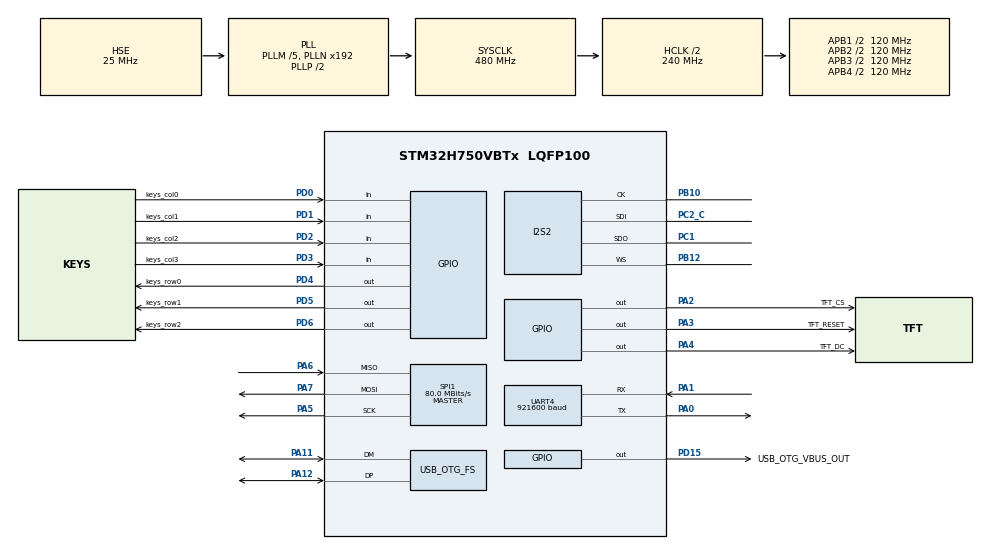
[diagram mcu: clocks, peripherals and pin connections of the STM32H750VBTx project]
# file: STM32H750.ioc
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CORTEX_M7.AccessPermission-Cortex_Memory_Protection_Unit_Region0_Settings=MPU_REGION_FULL_ACCESS
CORTEX_M7.AccessPermission-Cortex_Memory_Protection_Unit_Region1_Settings=MPU_REGION_FULL_ACCESS
CORTEX_M7.BaseAddress-Cortex_Memory_Protection_Unit_Region0_Settings=0x90000000
CORTEX_M7.BaseAddress-Cortex_Memory_Protection_Unit_Region1_Settings=0x90000000
CORTEX_M7.CPU_DCache=Enabled
CORTEX_M7.CPU_ICache=Enabled
CORTEX_M7.DisableExec-Cortex_Memory_Protection_Unit_Region0_Settings=MPU_INSTRUCTION_ACCESS_DISABLE
CORTEX_M7.Enable-Cortex_Memory_Protection_Unit_Region0_Settings=MPU_REGION_ENABLE
CORTEX_M7.Enable-Cortex_Memory_Protection_Unit_Region1_Settings=MPU_REGION_ENABLE
CORTEX_M7.IsBufferable-Cortex_Memory_Protection_Unit_Region0_Settings=MPU_ACCESS_BUFFERABLE
CORTEX_M7.IsBufferable-Cortex_Memory_Protection_Unit_Region1_Settings=MPU_ACCESS_BUFFERABLE
CORTEX_M7.IsCacheable-Cortex_Memory_Protection_Unit_Region0_Settings=MPU_ACCESS_CACHEABLE
CORTEX_M7.IsCacheable-Cortex_Memory_Protection_Unit_Region1_Settings=MPU_ACCESS_CACHEABLE
CORTEX_M7.MPU_Control=MPU_PRIVILEGED_DEFAULT
CORTEX_M7.Size-Cortex_Memory_Protection_Unit_Region0_Settings=MPU_REGION_SIZE_8MB
CORTEX_M7.Size-Cortex_Memory_Protection_Unit_Region1_Settings=MPU_REGION_SIZE_1MB
Dma.Request0=SPI1_TX
Dma.Request1=SPI2_RX
Dma.Request2=SPI2_TX
Dma.Request3=SPI1_RX
Dma.Request4=UART4_RX
Dma.Request5=UART4_TX
Dma.SPI1_RX.3.Direction=DMA_PERIPH_TO_MEMORY
Dma.SPI1_RX.3.EventEnable=DISABLE
Dma.SPI1_RX.3.FIFOMode=DMA_FIFOMODE_DISABLE
Dma.SPI1_RX.3.Instance=DMA2_Stream1
Dma.SPI1_RX.3.MemDataAlignment=DMA_MDATAALIGN_BYTE
Dma.SPI1_RX.3.MemInc=DMA_MINC_ENABLE
Dma.SPI1_RX.3.Mode=DMA_NORMAL
Dma.SPI1_RX.3.PeriphDataAlignment=DMA_PDATAALIGN_BYTE
Dma.SPI1_RX.3.PeriphInc=DMA_PINC_DISABLE
Dma.SPI1_RX.3.Polarity=HAL_DMAMUX_REQ_GEN_RISING
Dma.SPI1_RX.3.Priority=DMA_PRIORITY_HIGH
Dma.SPI1_RX.3.RequestNumber=1
Dma.SPI1_RX.3.SignalID=NONE
Dma.SPI1_RX.3.SyncEnable=DISABLE
Dma.SPI1_RX.3.SyncPolarity=HAL_DMAMUX_SYNC_NO_EVENT
Dma.SPI1_RX.3.SyncRequestNumber=1
Dma.SPI1_RX.3.SyncSignalID=NONE
Dma.SPI1_TX.0.Direction=DMA_MEMORY_TO_PERIPH
Dma.SPI1_TX.0.EventEnable=DISABLE
Dma.SPI1_TX.0.FIFOMode=DMA_FIFOMODE_DISABLE
Dma.SPI1_TX.0.Instance=DMA2_Stream2
Dma.SPI1_TX.0.MemDataAlignment=DMA_MDATAALIGN_BYTE
Dma.SPI1_TX.0.MemInc=DMA_MINC_ENABLE
Dma.SPI1_TX.0.Mode=DMA_NORMAL
Dma.SPI1_TX.0.PeriphDataAlignment=DMA_PDATAALIGN_BYTE
Dma.SPI1_TX.0.PeriphInc=DMA_PINC_DISABLE
Dma.SPI1_TX.0.Polarity=HAL_DMAMUX_REQ_GEN_RISING
Dma.SPI1_TX.0.Priority=DMA_PRIORITY_HIGH
Dma.SPI1_TX.0.RequestNumber=1
Dma.SPI1_TX.0.SignalID=NONE
Dma.SPI1_TX.0.SyncEnable=DISABLE
Dma.SPI1_TX.0.SyncPolarity=HAL_DMAMUX_SYNC_NO_EVENT
Dma.SPI1_TX.0.SyncRequestNumber=1
Dma.SPI1_TX.0.SyncSignalID=NONE
Dma.SPI2_RX.1.Direction=DMA_PERIPH_TO_MEMORY
Dma.SPI2_RX.1.EventEnable=DISABLE
Dma.SPI2_RX.1.FIFOMode=DMA_FIFOMODE_DISABLE
Dma.SPI2_RX.1.Instance=DMA1_Stream1
Dma.SPI2_RX.1.MemDataAlignment=DMA_MDATAALIGN_HALFWORD
Dma.SPI2_RX.1.MemInc=DMA_MINC_ENABLE
Dma.SPI2_RX.1.Mode=DMA_CIRCULAR
Dma.SPI2_RX.1.PeriphDataAlignment=DMA_PDATAALIGN_HALFWORD
Dma.SPI2_RX.1.PeriphInc=DMA_PINC_DISABLE
Dma.SPI2_RX.1.Polarity=HAL_DMAMUX_REQ_GEN_RISING
Dma.SPI2_RX.1.Priority=DMA_PRIORITY_VERY_HIGH
Dma.SPI2_RX.1.RequestNumber=1
Dma.SPI2_RX.1.SignalID=NONE
Dma.SPI2_RX.1.SyncEnable=DISABLE
Dma.SPI2_RX.1.SyncPolarity=HAL_DMAMUX_SYNC_NO_EVENT
Dma.SPI2_RX.1.SyncRequestNumber=1
Dma.SPI2_RX.1.SyncSignalID=NONE
Dma.SPI2_TX.2.Direction=DMA_MEMORY_TO_PERIPH
Dma.SPI2_TX.2.EventEnable=DISABLE
Dma.SPI2_TX.2.FIFOMode=DMA_FIFOMODE_DISABLE
Dma.SPI2_TX.2.Instance=DMA1_Stream2
Dma.SPI2_TX.2.MemDataAlignment=DMA_MDATAALIGN_HALFWORD
Dma.SPI2_TX.2.MemInc=DMA_MINC_ENABLE
Dma.SPI2_TX.2.Mode=DMA_CIRCULAR
Dma.SPI2_TX.2.PeriphDataAlignment=DMA_PDATAALIGN_HALFWORD
Dma.SPI2_TX.2.PeriphInc=DMA_PINC_DISABLE
Dma.SPI2_TX.2.Polarity=HAL_DMAMUX_REQ_GEN_RISING
Dma.SPI2_TX.2.Priority=DMA_PRIORITY_VERY_HIGH
Dma.SPI2_TX.2.RequestNumber=1
Dma.SPI2_TX.2.SignalID=NONE
Dma.SPI2_TX.2.SyncEnable=DISABLE
Dma.SPI2_TX.2.SyncPolarity=HAL_DMAMUX_SYNC_NO_EVENT
Dma.SPI2_TX.2.SyncRequestNumber=1
Dma.SPI2_TX.2.SyncSignalID=NONE
Dma.UART4_RX.4.Direction=DMA_PERIPH_TO_MEMORY
Dma.UART4_RX.4.EventEnable=DISABLE
Dma.UART4_RX.4.FIFOMode=DMA_FIFOMODE_DISABLE
Dma.UART4_RX.4.Instance=DMA1_Stream0
Dma.UART4_RX.4.MemDataAlignment=DMA_MDATAALIGN_BYTE
Dma.UART4_RX.4.MemInc=DMA_MINC_ENABLE
Dma.UART4_RX.4.Mode=DMA_NORMAL
Dma.UART4_RX.4.PeriphDataAlignment=DMA_PDATAALIGN_BYTE
Dma.UART4_RX.4.PeriphInc=DMA_PINC_DISABLE
Dma.UART4_RX.4.Polarity=HAL_DMAMUX_REQ_GEN_RISING
Dma.UART4_RX.4.Priority=DMA_PRIORITY_LOW
Dma.UART4_RX.4.RequestNumber=1
Dma.UART4_RX.4.SignalID=NONE
Dma.UART4_RX.4.SyncEnable=DISABLE
Dma.UART4_RX.4.SyncPolarity=HAL_DMAMUX_SYNC_NO_EVENT
Dma.UART4_RX.4.SyncRequestNumber=1
Dma.UART4_RX.4.SyncSignalID=NONE
Dma.UART4_TX.5.Direction=DMA_MEMORY_TO_PERIPH
Dma.UART4_TX.5.EventEnable=DISABLE
Dma.UART4_TX.5.FIFOMode=DMA_FIFOMODE_DISABLE
Dma.UART4_TX.5.Instance=DMA1_Stream3
Dma.UART4_TX.5.MemDataAlignment=DMA_MDATAALIGN_BYTE
Dma.UART4_TX.5.MemInc=DMA_MINC_ENABLE
Dma.UART4_TX.5.Mode=DMA_NORMAL
Dma.UART4_TX.5.PeriphDataAlignment=DMA_PDATAALIGN_BYTE
Dma.UART4_TX.5.PeriphInc=DMA_PINC_DISABLE
Dma.UART4_TX.5.Polarity=HAL_DMAMUX_REQ_GEN_RISING
Dma.UART4_TX.5.Priority=DMA_PRIORITY_LOW
Dma.UART4_TX.5.RequestNumber=1
Dma.UART4_TX.5.SignalID=NONE
Dma.UART4_TX.5.SyncEnable=DISABLE
Dma.UART4_TX.5.SyncPolarity=HAL_DMAMUX_SYNC_NO_EVENT
Dma.UART4_TX.5.SyncRequestNumber=1
Dma.UART4_TX.5.SyncSignalID=NONE
FREERTOS.Tasks01=defaultTask,24,128,StartDefaultTask,Default,NULL,Dynamic,NULL,NULL
I2S2.AudioFreq=AudioFreqCustomValue
I2S2.AudioFreqCustom=44100
I2S2.ErrorAudioFreq=-0.32 %
I2S2.Instance=SPI$Index
I2S2.RealAudioFreq=43.859 KHz
Mcu.Family=STM32H7
Mcu.Name=STM32H750VBTx
Mcu.Package=LQFP100
NVIC.DMA1_Stream0_IRQn=true\:5\:0\:false\:false\:true\:true\:false\:true\:true
NVIC.DMA1_Stream1_IRQn=true\:5\:0\:false\:false\:true\:true\:false\:true\:true
NVIC.DMA1_Stream2_IRQn=true\:5\:0\:false\:false\:true\:true\:false\:true\:true
NVIC.DMA1_Stream3_IRQn=true\:5\:0\:false\:false\:true\:true\:false\:true\:true
NVIC.DMA2_Stream1_IRQn=true\:5\:0\:false\:false\:true\:false\:false\:true\:true
NVIC.DMA2_Stream2_IRQn=true\:5\:0\:false\:false\:true\:false\:false\:true\:true
NVIC.OTG_FS_IRQn=true\:5\:0\:false\:false\:true\:true\:true\:true\:true
NVIC.PriorityGroup=NVIC_PRIORITYGROUP_4
NVIC.SPI1_IRQn=true\:5\:0\:false\:false\:true\:true\:true\:true\:true
NVIC.SPI2_IRQn=true\:5\:0\:false\:false\:true\:true\:true\:true\:true
NVIC.TIM5_IRQn=true\:15\:0\:false\:false\:true\:false\:false\:true\:true
NVIC.TimeBase=TIM5_IRQn
NVIC.TimeBaseIP=TIM5
NVIC.UART4_IRQn=true\:5\:0\:false\:false\:true\:true\:true\:true\:true
PA0.Mode=Asynchronous
PA0.Signal=UART4_TX
PA1.Mode=Asynchronous
PA1.Signal=UART4_RX
PA11.GPIO_Speed=GPIO_SPEED_FREQ_VERY_HIGH
PA11.Mode=Host_Only
PA11.Signal=USB_OTG_FS_DM
PA12.GPIO_Speed=GPIO_SPEED_FREQ_VERY_HIGH
PA12.Mode=Host_Only
PA12.Signal=USB_OTG_FS_DP
PA13\ (JTMS/SWDIO).Mode=Serial_Wire
PA13\ (JTMS/SWDIO).Signal=DEBUG_JTMS-SWDIO
PA14\ (JTCK/SWCLK).Mode=Serial_Wire
PA14\ (JTCK/SWCLK).Signal=DEBUG_JTCK-SWCLK
PA2.GPIO_Label=TFT_CS
PA2.GPIO_Speed=GPIO_SPEED_FREQ_HIGH
PA2.Signal=GPIO_Output
PA3.GPIO_Label=TFT_RESET
PA3.Signal=GPIO_Output
PA4.GPIO_Label=TFT_DC
PA4.GPIO_Speed=GPIO_SPEED_FREQ_HIGH
PA4.PinState=GPIO_PIN_RESET
PA4.Signal=GPIO_Output
PA5.GPIO_Speed=GPIO_SPEED_FREQ_VERY_HIGH
PA5.Mode=Full_Duplex_Master
PA5.Signal=SPI1_SCK
PA6.GPIO_Speed=GPIO_SPEED_FREQ_VERY_HIGH
PA6.Mode=Full_Duplex_Master
PA6.Signal=SPI1_MISO
PA7.GPIO_Speed=GPIO_SPEED_FREQ_VERY_HIGH
PA7.Mode=Full_Duplex_Master
PA7.Signal=SPI1_MOSI
PB10.GPIO_Speed=GPIO_SPEED_FREQ_VERY_HIGH
PB10.Mode=Full_Duplex_Master
PB10.Signal=I2S2_CK
PB12.GPIO_Speed=GPIO_SPEED_FREQ_VERY_HIGH
PB12.Mode=Full_Duplex_Master
PB12.Signal=I2S2_WS
PC1.GPIO_Speed=GPIO_SPEED_FREQ_VERY_HIGH
PC1.Mode=Full_Duplex_Master
PC1.Signal=I2S2_SDO
PC14-OSC32_IN\ (OSC32_IN).Mode=LSE-External-Oscillator
PC14-OSC32_IN\ (OSC32_IN).Signal=RCC_OSC32_IN
PC15-OSC32_OUT\ (OSC32_OUT).Mode=LSE-External-Oscillator
PC15-OSC32_OUT\ (OSC32_OUT).Signal=RCC_OSC32_OUT
PC2_C.GPIO_Speed=GPIO_SPEED_FREQ_VERY_HIGH
PC2_C.Mode=Full_Duplex_Master
PC2_C.Signal=I2S2_SDI
PD0.GPIO_Label=keys_col0
PD0.GPIO_PuPd=GPIO_PULLUP
PD0.Signal=GPIO_Input
PD1.GPIO_Label=keys_col1
PD1.GPIO_PuPd=GPIO_PULLUP
PD1.Signal=GPIO_Input
PD13.Signal=QUADSPI_BK1_IO3
PD15.GPIO_Label=USB_OTG_VBUS_OUT
PD15.Signal=GPIO_Output
PD2.GPIO_Label=keys_col2
PD2.GPIO_PuPd=GPIO_PULLUP
PD2.Signal=GPIO_Input
PD3.GPIO_Label=keys_col3
PD3.GPIO_PuPd=GPIO_PULLUP
PD3.Signal=GPIO_Input
PD4.GPIO_Label=keys_row0
PD4.Signal=GPIO_Output
PD5.GPIO_Label=keys_row1
PD5.Signal=GPIO_Output
PD6.GPIO_Label=keys_row2
PD6.Signal=GPIO_Output
PH0-OSC_IN\ (PH0).Mode=HSE-External-Oscillator
PH0-OSC_IN\ (PH0).Signal=RCC_OSC_IN
PH1-OSC_OUT\ (PH1).Mode=HSE-External-Oscillator
PH1-OSC_OUT\ (PH1).Signal=RCC_OSC_OUT
ProjectManager.HeapSize=0x200
ProjectManager.StackSize=0x800
ProjectManager.TargetToolchain=Makefile
RCC.ADCFreq_Value=160000000
RCC.APB1Freq_Value=120000000
RCC.APB2Freq_Value=120000000
RCC.APB3Freq_Value=120000000
RCC.APB4Freq_Value=120000000
RCC.CortexFreq_Value=480000000
RCC.D1PPRE=RCC_APB3_DIV2
RCC.D2PPRE1=RCC_APB1_DIV2
RCC.D2PPRE2=RCC_APB2_DIV2
RCC.D3PPRE=RCC_APB4_DIV2
RCC.DIVM1=5
RCC.DIVM2=5
RCC.DIVN1=192
RCC.DIVN2=64
RCC.DIVQ1=20
RCC.HCLKFreq_Value=240000000
RCC.HPRE=RCC_HCLK_DIV2
RCC.PLL2FRACN=0
RCC.PLL3FRACN=0
RCC.PLLFRACN=0
RCC.PLLSourceVirtual=RCC_PLLSOURCE_HSE
RCC.SPI123CLockSelection=RCC_SPI123CLKSOURCE_PLL2
RCC.SYSCLKFreq_VALUE=480000000
RCC.SYSCLKSource=RCC_SYSCLKSOURCE_PLLCLK
RCC.USBFreq_Value=48000000
SPI1.BaudRatePrescaler=SPI_BAUDRATEPRESCALER_2
SPI1.CalculateBaudRate=80.0 MBits/s
SPI1.DataSize=SPI_DATASIZE_8BIT
SPI1.Direction=SPI_DIRECTION_2LINES
SPI1.Mode=SPI_MODE_MASTER
SPI1.NSSPMode=SPI_NSS_PULSE_DISABLE
SPI1.VirtualType=VM_MASTER
TIM2.ClockDivision=TIM_CLOCKDIVISION_DIV4
TIM2.Period=4294967295
TIM2.Prescaler=239
UART4.BaudRate=921600
USB_HOST.ALL_SW_VBUS_DRIVE_FS=true
USB_HOST.USBH_DEBUG_LEVEL-ALL_Classes_FS=3
USB_HOST.USBH_HandleTypeDef-ALL_Classes_FS=hUsbHostFS
USB_HOST.USBH_MAX_DATA_BUFFER-ALL_Classes_FS=1024
USB_HOST.USBH_MAX_NUM_ENDPOINTS-ALL_Classes_FS=10
USB_HOST.USBH_MAX_NUM_INTERFACES-ALL_Classes_FS=20
USB_HOST.USBH_PROCESS_STACK_SIZE-ALL_Classes_FS=2*1024
USB_HOST.VirtualModeFS=All_Classes
USB_OTG_FS.VirtualMode=Host_Only
USB_OTG_FS.dma_enable=ENABLE
USB_OTG_FS.phy_itface=HCD_PHY_EMBEDDED
VP_FREERTOS_VS_CMSIS_V2.Mode=CMSIS_V2
VP_SYS_VS_tim5.Mode=TIM5
VP_TIM2_VS_ClockSourceINT.Mode=Internal
VP_USB_HOST_VS_USB_HOST_ALL_CLASS_FS.Mode=ALL_Classes_FS
board=custom

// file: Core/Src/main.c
/* USER CODE BEGIN Header */
/**
  ******************************************************************************
  * @file           : main.c
  * @brief          : Main program body
  ******************************************************************************
  * @attention
  *
  * Copyright (c) 2023 STMicroelectronics.
  * All rights reserved.
  *
  * This software is licensed under terms that can be found in the LICENSE file
  * in the root directory of this software component.
  * If no LICENSE file comes with this software, it is provided AS-IS.
  *
  ******************************************************************************
  */
/* USER CODE END Header */
#include "main.h"
#include "cmsis_os.h"
#include "dma.h"
#include "i2s.h"
#include "spi.h"
#include "tim.h"
#include "usart.h"
#include "usb_host.h"
#include "gpio.h"

/* USER CODE BEGIN Includes */
#include "ILI9341/ili9341.h"
#include "SEGGER_SYSVIEW.h"
#include "ucprof/ucprof.h"
#include "lfsapp/lfsapp.h"
/* USER CODE END Includes */

void SystemClock_Config(void);
void PeriphCommonClock_Config(void);
static void MPU_Config(void);
void MX_FREERTOS_Init(void);

int main(void)
{
  /* USER CODE BEGIN 1 */
  SEGGER_SYSVIEW_Conf();
  ucprof_init();
  /* USER CODE END 1 */

  /* MPU Configuration--------------------------------------------------------*/
  MPU_Config();
/* Enable the CPU Cache */

  /* Enable I-Cache---------------------------------------------------------*/
   SCB_EnableICache();

  /* Enable D-Cache---------------------------------------------------------*/
//   SCB_EnableDCache();

  /* MCU Configuration--------------------------------------------------------*/

  /* Reset of all peripherals, Initializes the Flash interface and the Systick. */
  HAL_Init();

  /* Configure the system clock */
  SystemClock_Config();

/* Configure the peripherals common clocks */
  PeriphCommonClock_Config();

  /* Initialize all configured peripherals */
  MX_GPIO_Init();
  MX_DMA_Init();
  MX_SPI1_Init();
  MX_I2S2_Init();
  MX_UART4_Init();
  MX_TIM2_Init();
  /* USER CODE BEGIN 2 */
  lfsapp_init();
  /* USER CODE END 2 */

  /* Init scheduler */
  osKernelInitialize();

  /* Call init function for freertos objects (in freertos.c) */
  MX_FREERTOS_Init();

  /* Start scheduler */
  osKernelStart();

  /* We should never get here as control is now taken by the scheduler */
  /* Infinite loop */
  while (1)
  {

  }
}

void SystemClock_Config(void)
{
  RCC_OscInitTypeDef RCC_OscInitStruct = {0};
  RCC_ClkInitTypeDef RCC_ClkInitStruct = {0};

  /** Supply configuration update enable
  */
  HAL_PWREx_ConfigSupply(PWR_LDO_SUPPLY);

  /** Configure the main internal regulator output voltage
  */
  __HAL_PWR_VOLTAGESCALING_CONFIG(PWR_REGULATOR_VOLTAGE_SCALE1);

  while(!__HAL_PWR_GET_FLAG(PWR_FLAG_VOSRDY)) {}

  __HAL_RCC_SYSCFG_CLK_ENABLE();
  __HAL_PWR_VOLTAGESCALING_CONFIG(PWR_REGULATOR_VOLTAGE_SCALE0);

  while(!__HAL_PWR_GET_FLAG(PWR_FLAG_VOSRDY)) {}

  /** Initializes the RCC Oscillators according to the specified parameters
  * in the RCC_OscInitTypeDef structure.
  */
  RCC_OscInitStruct.OscillatorType = RCC_OSCILLATORTYPE_HSE;
  RCC_OscInitStruct.HSEState = RCC_HSE_ON;
  RCC_OscInitStruct.PLL.PLLState = RCC_PLL_ON;
  RCC_OscInitStruct.PLL.PLLSource = RCC_PLLSOURCE_HSE;
  RCC_OscInitStruct.PLL.PLLM = 5;
  RCC_OscInitStruct.PLL.PLLN = 192;
  RCC_OscInitStruct.PLL.PLLP = 2;
  RCC_OscInitStruct.PLL.PLLQ = 20;
  RCC_OscInitStruct.PLL.PLLR = 2;
  RCC_OscInitStruct.PLL.PLLRGE = RCC_PLL1VCIRANGE_2;
  RCC_OscInitStruct.PLL.PLLVCOSEL = RCC_PLL1VCOWIDE;
  RCC_OscInitStruct.PLL.PLLFRACN = 0;
  if (HAL_RCC_OscConfig(&RCC_OscInitStruct) != HAL_OK)
  {
    Error_Handler();
  }

  /** Initializes the CPU, AHB and APB buses clocks
  */
  RCC_ClkInitStruct.ClockType = RCC_CLOCKTYPE_HCLK|RCC_CLOCKTYPE_SYSCLK
                              |RCC_CLOCKTYPE_PCLK1|RCC_CLOCKTYPE_PCLK2
                              |RCC_CLOCKTYPE_D3PCLK1|RCC_CLOCKTYPE_D1PCLK1;
  RCC_ClkInitStruct.SYSCLKSource = RCC_SYSCLKSOURCE_PLLCLK;
  RCC_ClkInitStruct.SYSCLKDivider = RCC_SYSCLK_DIV1;
  RCC_ClkInitStruct.AHBCLKDivider = RCC_HCLK_DIV2;
  RCC_ClkInitStruct.APB3CLKDivider = RCC_APB3_DIV2;
  RCC_ClkInitStruct.APB1CLKDivider = RCC_APB1_DIV2;
  RCC_ClkInitStruct.APB2CLKDivider = RCC_APB2_DIV2;
  RCC_ClkInitStruct.APB4CLKDivider = RCC_APB4_DIV2;

  if (HAL_RCC_ClockConfig(&RCC_ClkInitStruct, FLASH_LATENCY_4) != HAL_OK)
  {
    Error_Handler();
  }
}

void PeriphCommonClock_Config(void)
{
  RCC_PeriphCLKInitTypeDef PeriphClkInitStruct = {0};

  /** Initializes the peripherals clock
  */
  PeriphClkInitStruct.PeriphClockSelection = RCC_PERIPHCLK_SPI2|RCC_PERIPHCLK_SPI1;
  PeriphClkInitStruct.PLL2.PLL2M = 5;
  PeriphClkInitStruct.PLL2.PLL2N = 64;
  PeriphClkInitStruct.PLL2.PLL2P = 2;
  PeriphClkInitStruct.PLL2.PLL2Q = 2;
  PeriphClkInitStruct.PLL2.PLL2R = 2;
  PeriphClkInitStruct.PLL2.PLL2RGE = RCC_PLL2VCIRANGE_2;
  PeriphClkInitStruct.PLL2.PLL2VCOSEL = RCC_PLL2VCOWIDE;
  PeriphClkInitStruct.PLL2.PLL2FRACN = 0;
  PeriphClkInitStruct.Spi123ClockSelection = RCC_SPI123CLKSOURCE_PLL2;
  if (HAL_RCCEx_PeriphCLKConfig(&PeriphClkInitStruct) != HAL_OK)
  {
    Error_Handler();
  }
}

/* USER CODE BEGIN 4 */
uint16_t audio_out_buffer[256];
/* USER CODE END 4 */

/* MPU Configuration */

void MPU_Config(void)
{
  MPU_Region_InitTypeDef MPU_InitStruct = {0};

  /* Disables the MPU */
  HAL_MPU_Disable();

  /** Initializes and configures the Region and the memory to be protected
  */
  MPU_InitStruct.Enable = MPU_REGION_ENABLE;
  MPU_InitStruct.Number = MPU_REGION_NUMBER0;
  MPU_InitStruct.BaseAddress = 0x90000000;
  MPU_InitStruct.Size = MPU_REGION_SIZE_8MB;
  MPU_InitStruct.SubRegionDisable = 0x0;
  MPU_InitStruct.TypeExtField = MPU_TEX_LEVEL0;
  MPU_InitStruct.AccessPermission = MPU_REGION_FULL_ACCESS;
  MPU_InitStruct.DisableExec = MPU_INSTRUCTION_ACCESS_DISABLE;
  MPU_InitStruct.IsShareable = MPU_ACCESS_NOT_SHAREABLE;
  MPU_InitStruct.IsCacheable = MPU_ACCESS_CACHEABLE;
  MPU_InitStruct.IsBufferable = MPU_ACCESS_BUFFERABLE;

  HAL_MPU_ConfigRegion(&MPU_InitStruct);

  /** Initializes and configures the Region and the memory to be protected
  */
  MPU_InitStruct.Number = MPU_REGION_NUMBER1;
  MPU_InitStruct.Size = MPU_REGION_SIZE_1MB;
  MPU_InitStruct.DisableExec = MPU_INSTRUCTION_ACCESS_ENABLE;

  HAL_MPU_ConfigRegion(&MPU_InitStruct);
  /* Enables the MPU */
  HAL_MPU_Enable(MPU_PRIVILEGED_DEFAULT);

}

void HAL_TIM_PeriodElapsedCallback(TIM_HandleTypeDef *htim)
{
  if (htim->Instance == TIM5) {
    HAL_IncTick();
  }
}

void Error_Handler(void)
{
  __disable_irq();
  while (1)
  {
  }
}

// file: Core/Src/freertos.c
/* USER CODE BEGIN Header */
/**
 ******************************************************************************
 * File Name          : freertos.c
 * Description        : Code for freertos applications
 ******************************************************************************
 * @attention
 *
 * Copyright (c) 2023 STMicroelectronics.
 * All rights reserved.
 *
 * This software is licensed under terms that can be found in the LICENSE file
 * in the root directory of this software component.
 * If no LICENSE file comes with this software, it is provided AS-IS.
 *
 ******************************************************************************
 */
/* USER CODE END Header */

#include "FreeRTOS.h"
#include "cmsis_os.h"
#include "main.h"
#include "task.h"

/* USER CODE BEGIN Includes */
#include "platform.h"

#include "usb_host.h"

#include "SEGGER_SYSVIEW.h"
#include "ln/ln.h"
#include "ln/logger/logger.h"

/* USER CODE END Includes */

/* Definitions for startupTask */
osThreadId_t startupTaskHandle;
const osThreadAttr_t startupTask_attributes = {
    .name = "startup",
    .stack_size = 8 * 1024,
    .priority = (osPriority_t)osPriorityRealtime,
};

void startupTask(void *argument);

extern void MX_USB_HOST_Init(void);
void MX_FREERTOS_Init(void); /* (MISRA C 2004 rule 8.1) */

void MX_FREERTOS_Init(void) {

  /* Create the thread(s) */
  /* creation of startupTask */
  startupTaskHandle = osThreadNew(startupTask, NULL, &startupTask_attributes);

}

void startupTask(void *arg) {
  UNUSED(arg);
  SEGGER_SYSVIEW_Start();
  /* init code for USB_HOST */
  MX_USB_HOST_Init();
  /* USER CODE BEGIN 5 */
  ln_logger_enable();
  platform_app();
  //  static uint16_t audio_out_buffer[256];
  //  HAL_I2S_Transmit_DMA(&hi2s2, audio_out_buffer, 256);
  osThreadTerminate(startupTaskHandle);
  /* USER CODE END 5 */
}

/* USER CODE BEGIN Application */

#include "tim.h"
#include <stdio.h>
#include <string.h>

void freertos_config_configure_timer_for_run_time_stats() { HAL_TIM_Base_Start(&htim2); }

uint32_t freertos_config_get_run_time_counter_value() { return __HAL_TIM_GET_COUNTER(&htim2); }

const TickType_t FREERTOS_STATS_PRINT_PERIOD = pdMS_TO_TICKS(1000);
const uint32_t FREERTOS_STATS_MAX_LINE_LENGTH = 48;
#define PRINT_FREERTOS_STATS_ENABLED 0

void vApplicationIdleHook(void) {
#if PRINT_FREERTOS_STATS_ENABLED
  static uint32_t lastWakeTime = 0;
  if ((xTaskGetTickCount() - lastWakeTime) >= FREERTOS_STATS_PRINT_PERIOD) {
    lastWakeTime = xTaskGetTickCount();
    UBaseType_t numTasks = uxTaskGetNumberOfTasks();
    TaskStatus_t *taskStatusArray = pvPortMalloc(numTasks * sizeof(TaskStatus_t));
    if (!taskStatusArray) {
      return;
    }
    uint32_t ulTotalTime;
    numTasks = uxTaskGetSystemState(taskStatusArray, numTasks, &ulTotalTime);
    ulTotalTime /= 100UL;
    if (ulTotalTime == 0UL) {
      vPortFree(taskStatusArray);
      return;
    }
    const uint32_t buff_size = (1 + numTasks) * FREERTOS_STATS_MAX_LINE_LENGTH;
    char *buff = pvPortMalloc(buff_size);
    if (!buff) {
      vPortFree(taskStatusArray);
      return;
    }
    char *buff_ = buff;
    buff_ += snprintf(buff_, (buff_size - (buff_ - buff)), "Task              CPU %%  Stack %%\n");
    for (size_t i = 0; i < numTasks; i++) {
      const float cpuUsagePercentage = (float)taskStatusArray[i].ulRunTimeCounter / (float)ulTotalTime;
      extern uint32_t taskGetStackSizeWords(TaskHandle_t taskHandle);
      const uint32_t stackSizeWords = taskGetStackSizeWords(taskStatusArray[i].xHandle);
      const uint32_t stackUsedWords = stackSizeWords - uxTaskGetStackHighWaterMark2(taskStatusArray[i].xHandle);
      const float stackUsagePercentage = 100.0f * (float)stackUsedWords / (float)stackSizeWords;
      buff_ += snprintf(buff_, (buff_size - (buff_ - buff)), "%-16s  %5.2f  %5.2f\n", taskStatusArray[i].pcTaskName,
                        cpuUsagePercentage, stackUsagePercentage);
    }
    platform_print_freertos_stats(buff);
    vPortFree(taskStatusArray);
    vPortFree(buff);
  }
#endif
}

void vApplicationMallocFailedHook() { LN_PANIC(); }

/* USER CODE END Application */
